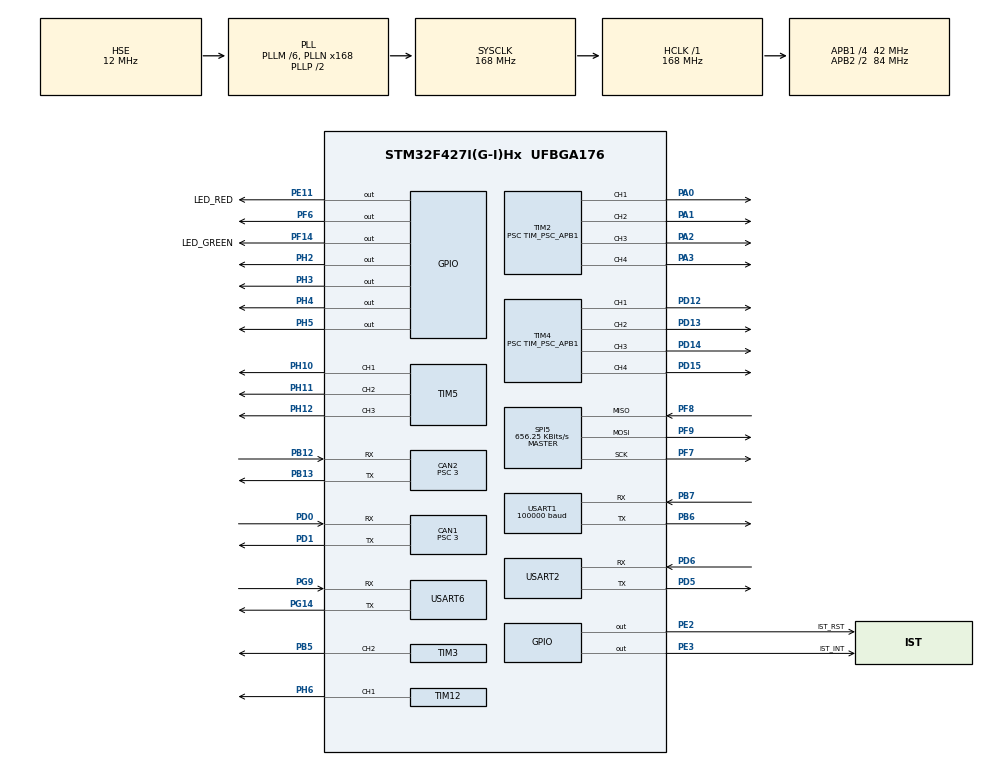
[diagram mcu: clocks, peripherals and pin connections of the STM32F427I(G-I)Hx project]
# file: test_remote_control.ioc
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Mcu.Family=STM32F4
RCC.CortexFreq_Value=168000000
PH12.Signal=S_TIM5_CH3
NVIC.CAN2_RX0_IRQn=true\:0\:0\:false\:false\:true\:true\:true
PH10.Signal=S_TIM5_CH1
PE11.GPIO_Label=LED_RED
USART1.BaudRate=100000
PE2.GPIO_Speed=GPIO_SPEED_FREQ_VERY_HIGH
SH.S_TIM5_CH2.0=TIM5_CH2,PWM Generation2 CH2
PA0/WKUP.Signal=S_TIM2_CH1_ETR
TIM2.Channel-PWM\ Generation2\ CH2=TIM_CHANNEL_2
PB13.Signal=CAN2_TX
Dma.USART2_RX.1.MemDataAlignment=DMA_MDATAALIGN_BYTE
RCC.SYSCLKSource=RCC_SYSCLKSOURCE_PLLCLK
ProjectManager.StackSize=0x400
Dma.USART2_TX.2.PeriphDataAlignment=DMA_PDATAALIGN_BYTE
PD13.Signal=S_TIM4_CH2
PH5.Signal=GPIO_Output
Mcu.UserConstants=APB1_TIMER_CLOCKS,84000000;APB2_TIMER_CLOCKS,168000000;PWM_FREQUENCE,50;PWM_RESOLUTION,10000;PWM_DEFAULT_DUTY,1000;TIM_PSC_APB1,((APB1_TIMER_CLOCKS/PWM_FREQUENCE)/PWM_RESOLUTION -1);TIM_PSC_APB2,((APB2_TIMER_CLOCKS/PWM_FREQUENCE)/PWM_RESOLUTION -1)
PF7.Signal=SPI5_SCK
TIM2.Pulse-PWM\ Generation3\ CH3=PWM_DEFAULT_DUTY
NVIC.CAN1_TX_IRQn=true\:0\:0\:false\:false\:true\:true\:true
PH0/OSC_IN.Mode=HSE-External-Oscillator
RCC.HCLKFreq_Value=168000000
RCC.APB2TimFreq_Value=168000000
TIM3.Period=4999
TIM4.Pulse-PWM\ Generation1\ CH1=PWM_DEFAULT_DUTY
PB6.Signal=USART1_TX
PB6.Mode=Asynchronous
PH1/OSC_OUT.Signal=RCC_OSC_OUT
SH.S_TIM5_CH3.0=TIM5_CH3,PWM Generation3 CH3
Dma.USART2_RX.1.PeriphInc=DMA_PINC_DISABLE
PD0.Signal=CAN1_RX
Dma.USART2_RX.1.MemInc=DMA_MINC_ENABLE
RCC.AHBFreq_Value=168000000
Dma.USART1_RX.0.Priority=DMA_PRIORITY_VERY_HIGH
PD5.Mode=Asynchronous
RCC.HSE_VALUE=12000000
TIM4.Channel-PWM\ Generation3\ CH3=TIM_CHANNEL_3
Dma.USART2_TX.2.Priority=DMA_PRIORITY_LOW
TIM12.Period=7777
PG14.Mode=Asynchronous
PF9.Mode=Full_Duplex_Master
SH.S_TIM12_CH1.0=TIM12_CH1,PWM Generation1 CH1
PA14.Mode=Serial_Wire
CAN2.Prescaler=3
TIM3.Prescaler=0
Dma.USART2_TX.2.MemDataAlignment=DMA_MDATAALIGN_BYTE
SH.S_TIM4_CH2.0=TIM4_CH2,PWM Generation2 CH2
PE2.Signal=GPIO_Output
PB7.Signal=USART1_RX
PF8.Mode=Full_Duplex_Master
TIM2.Channel-PWM\ Generation1\ CH1=TIM_CHANNEL_1
TIM4.Period=PWM_RESOLUTION-1
Dma.USART1_RX.0.MemInc=DMA_MINC_ENABLE
PH1/OSC_OUT.Mode=HSE-External-Oscillator
CAN1.Prescaler=3
Mcu.Package=UFBGA176
SPI5.BaudRatePrescaler=SPI_BAUDRATEPRESCALER_128
TIM2.Prescaler=TIM_PSC_APB1
PB12.Mode=Slave
CAN2.BS1=CAN_BS1_9TQ
CAN2.BS2=CAN_BS2_4TQ
USART2.VirtualMode=VM_ASYNC
USART6.VirtualMode=VM_ASYNC
PD12.Signal=S_TIM4_CH1
TIM4.OCMode_PWM-PWM\ Generation4\ CH4=TIM_OCMODE_PWM1
PF8.Signal=SPI5_MISO
TIM2.Pulse-PWM\ Generation2\ CH2=PWM_DEFAULT_DUTY
SPI5.CalculateBaudRate=656.25 KBits/s
PH2.Signal=GPIO_Output
Dma.USART1_RX.0.FIFOMode=DMA_FIFOMODE_DISABLE
RCC.APB2CLKDivider=RCC_HCLK_DIV2
NVIC.DMA2_Stream2_IRQn=true\:0\:0\:false\:false\:true\:false\:true
SH.S_TIM4_CH1.0=TIM4_CH1,PWM Generation1 CH1
Dma.Request2=USART2_TX
PF14.Signal=GPIO_Output
Dma.Request1=USART2_RX
RCC.APB1TimFreq_Value=84000000
SH.S_TIM5_CH1.0=TIM5_CH1,PWM Generation1 CH1
Dma.USART1_RX.0.Mode=DMA_CIRCULAR
PB13.Mode=Slave
NVIC.USART1_IRQn=true\:0\:0\:false\:false\:true\:true\:true
PD6.Signal=USART2_RX
Dma.USART2_RX.1.Mode=DMA_NORMAL
TIM4.Channel-PWM\ Generation4\ CH4=TIM_CHANNEL_4
Dma.Request0=USART1_RX
NVIC.DMA1_Stream6_IRQn=true\:0\:0\:false\:false\:true\:false\:true
PE2.GPIO_Label=IST_RST
PD15.Signal=S_TIM4_CH4
Dma.USART1_RX.0.Instance=DMA2_Stream2
SPI5.VirtualType=VM_MASTER
TIM4.Pulse-PWM\ Generation2\ CH2=PWM_DEFAULT_DUTY
PA3.Signal=S_TIM2_CH4
CAN1.CalculateTimeQuantum=71.42857142857143
RCC.PLLSourceVirtual=RCC_PLLSOURCE_HSE
TIM4.Channel-PWM\ Generation1\ CH1=TIM_CHANNEL_1
Dma.USART2_TX.2.PeriphInc=DMA_PINC_DISABLE
TIM4.Pulse-PWM\ Generation3\ CH3=PWM_DEFAULT_DUTY
NVIC.CAN2_TX_IRQn=true\:0\:0\:false\:false\:true\:true\:true
TIM2.Channel-PWM\ Generation4\ CH4=TIM_CHANNEL_4
Dma.USART2_RX.1.Priority=DMA_PRIORITY_LOW
Dma.USART2_RX.1.FIFOMode=DMA_FIFOMODE_DISABLE
Dma.USART1_RX.0.PeriphDataAlignment=DMA_PDATAALIGN_BYTE
PH11.Signal=S_TIM5_CH2
Dma.USART2_TX.2.MemInc=DMA_MINC_ENABLE
SH.S_TIM4_CH4.0=TIM4_CH4,PWM Generation4 CH4
PG9.Signal=USART6_RX
PG9.Mode=Asynchronous
PD1.Signal=CAN1_TX
PD5.Signal=USART2_TX
PF14.GPIO_Label=LED_GREEN
TIM5.Channel-PWM\ Generation3\ CH3=TIM_CHANNEL_3
RCC.APB1CLKDivider=RCC_HCLK_DIV4
PD6.Mode=Asynchronous
NVIC.USART2_IRQn=true\:0\:0\:false\:false\:true\:true\:true
SPI5.Mode=SPI_MODE_MASTER
TIM2.Pulse-PWM\ Generation1\ CH1=PWM_DEFAULT_DUTY
NVIC.USART6_IRQn=true\:0\:0\:false\:false\:true\:true\:true
PA13.Signal=SYS_JTMS-SWDIO
PF7.Mode=Full_Duplex_Master
SH.S_TIM2_CH2.0=TIM2_CH2,PWM Generation2 CH2
PH4.Signal=GPIO_Output
CAN1.BS2=CAN_BS2_4TQ
PF6.Signal=GPIO_Output
CAN1.BS1=CAN_BS1_9TQ
ProjectManager.TargetToolchain=STM32CubeIDE
NVIC.DMA1_Stream5_IRQn=true\:0\:0\:false\:false\:true\:false\:true
SH.S_TIM4_CH3.0=TIM4_CH3,PWM Generation3 CH3
Dma.USART1_RX.0.Direction=DMA_PERIPH_TO_MEMORY
USART1.Parity=PARITY_EVEN
TIM4.Prescaler=TIM_PSC_APB1
PE11.Signal=GPIO_Output
RCC.LSE_VALUE=32768
PA1.Signal=S_TIM2_CH2
Dma.USART1_RX.0.PeriphInc=DMA_PINC_DISABLE
Dma.USART2_RX.1.Instance=DMA1_Stream5
TIM12.Prescaler=3
Dma.USART2_RX.1.Direction=DMA_PERIPH_TO_MEMORY
SH.S_TIM3_CH2.0=TIM3_CH2,PWM Generation2 CH2
PG14.Signal=USART6_TX
Dma.USART2_RX.1.PeriphDataAlignment=DMA_PDATAALIGN_BYTE
board=custom
RCC.VCOOutputFreq_Value=336000000
PD1.Mode=Master
TIM4.Pulse-PWM\ Generation4\ CH4=PWM_DEFAULT_DUTY
PH0/OSC_IN.Signal=RCC_OSC_IN
TIM12.Channel-PWM\ Generation1\ CH1=TIM_CHANNEL_1
TIM4.Channel-PWM\ Generation2\ CH2=TIM_CHANNEL_2
RCC.APB2Freq_Value=84000000
SH.S_TIM2_CH3.0=TIM2_CH3,PWM Generation3 CH3
CAN2.CalculateTimeQuantum=71.42857142857143
TIM2.Channel-PWM\ Generation3\ CH3=TIM_CHANNEL_3
Dma.USART1_RX.0.MemDataAlignment=DMA_MDATAALIGN_BYTE
TIM2.Period=PWM_RESOLUTION-1
PA13.Mode=Serial_Wire
Mcu.Name=STM32F427I(G-I)Hx
PD0.Mode=Master
PA2.Signal=S_TIM2_CH3
Dma.USART2_TX.2.Mode=DMA_NORMAL
PD14.Signal=S_TIM4_CH3
RCC.48MHZClocksFreq_Value=84000000
TIM5.Channel-PWM\ Generation2\ CH2=TIM_CHANNEL_2
RCC.SYSCLKFreq_VALUE=168000000
PB5.Signal=S_TIM3_CH2
Dma.USART2_TX.2.Instance=DMA1_Stream6
PE3.GPIO_Speed=GPIO_SPEED_FREQ_VERY_HIGH
USART1.VirtualMode=VM_ASYNC
PB7.Mode=Asynchronous
SH.S_TIM2_CH1_ETR.0=TIM2_CH1,PWM Generation1 CH1
TIM5.Channel-PWM\ Generation1\ CH1=TIM_CHANNEL_1
PA14.Signal=SYS_JTCK-SWCLK
ProjectManager.HeapSize=0x200
SH.S_TIM2_CH4.0=TIM2_CH4,PWM Generation4 CH4
PH6.Signal=S_TIM12_CH1
PF9.Signal=SPI5_MOSI
RCC.HSI_VALUE=16000000
Dma.USART2_TX.2.Direction=DMA_MEMORY_TO_PERIPH
NVIC.PriorityGroup=NVIC_PRIORITYGROUP_4
PH3.Signal=GPIO_Output
TIM3.Channel-PWM\ Generation2\ CH2=TIM_CHANNEL_2
RCC.PLLM=6
RCC.PLLN=168
Dma.USART2_TX.2.FIFOMode=DMA_FIFOMODE_DISABLE
PE3.Signal=GPIO_Output
PE3.GPIO_Label=IST_INT
TIM2.Pulse-PWM\ Generation4\ CH4=PWM_DEFAULT_DUTY
RCC.APB1Freq_Value=42000000
PB12.Signal=CAN2_RX
NVIC.CAN1_RX0_IRQn=true\:0\:0\:false\:false\:true\:true\:true
SPI5.Direction=SPI_DIRECTION_2LINES

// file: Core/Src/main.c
/* USER CODE BEGIN Header */
/**
  ******************************************************************************
  * @file           : main.c
  * @brief          : Main program body
  ******************************************************************************
  * @attention
  *
  * <h2><center>&copy; Copyright (c) 2020 STMicroelectronics.
  * All rights reserved.</center></h2>
  *
  * This software component is licensed by ST under BSD 3-Clause license,
  * the "License"; You may not use this file except in compliance with the
  * License. You may obtain a copy of the License at:
  *                        opensource.org/licenses/BSD-3-Clause
  *
  ******************************************************************************
  */
/* USER CODE END Header */
#include "main.h"

/* USER CODE BEGIN Includes */
#include <stdlib.h>
#include <stdio.h>
#include <math.h>
#include "rm_uart.h"
#include "rm_gpio.h"
#include "rm_can.h"
#include "rm_imu.h"
#include "rm_pwm.h"
#include "rm_ctrl.h"

/* USER CODE END Includes */

/* USER CODE BEGIN PD */
//#define INF_2
//#define SENTRY
#define HERO

// default positions
#ifdef INF_2
#define YAW_POS_DEFAULT (750)
#define PIT_POS_DEFAULT (6730)
#endif

#ifdef HERO
#define YAW_POS_DEFAULT (2800)
#define PIT_POS_DEFAULT (6730)
#endif

#ifdef SENTRY
#define YAW_POS_DEFAULT (4350)
#define PIT_POS_DEFAULT (1500)
#endif

#define DRIVE_LF_ID 0
#define DRIVE_LB_ID 1
#define DRIVE_RF_ID 2
#define DRIVE_RB_ID 3
#define RPM_SCALE 10
#define JOY_TO_RPM (1 / 660.0f) // max 660, 660 / 660.0f = 1 rpm
#define JOY_TO_ECD (4096 / 660.0f) // max 660, 660 * (4096 / 660.0f = 4096
#define DRIVE_SPEED_DEFAULT 450 // 450 rpm
#define MOTOR_BOUNDS 4500
#define GIMBAL_RPM_LIMIT 3200

/* USER CODE END PD */

CAN_HandleTypeDef hcan1;
CAN_HandleTypeDef hcan2;

SPI_HandleTypeDef hspi5;

TIM_HandleTypeDef htim2;
TIM_HandleTypeDef htim3;
TIM_HandleTypeDef htim4;
TIM_HandleTypeDef htim5;
TIM_HandleTypeDef htim12;

UART_HandleTypeDef huart1;
UART_HandleTypeDef huart2;
UART_HandleTypeDef huart6;
DMA_HandleTypeDef hdma_usart1_rx;
DMA_HandleTypeDef hdma_usart2_rx;
DMA_HandleTypeDef hdma_usart2_tx;

/* USER CODE BEGIN PV */
char buf[200];
int count;

short isKB = 0;
short LF_rpm,LB_rpm,RF_rpm,RB_rpm;
short gimbal_yaw,gimbal_pitch;
short yaw_rpm, pit_rpm;
short flywheel_speed;

short yaw_ecd_target;
short pit_ecd_target;

float indexer_speed = 0;

/* USER CODE END PV */

void SystemClock_Config(void);
static void MX_GPIO_Init(void);
static void MX_DMA_Init(void);
static void MX_CAN1_Init(void);
static void MX_CAN2_Init(void);
static void MX_SPI5_Init(void);
static void MX_TIM2_Init(void);
static void MX_TIM4_Init(void);
static void MX_USART1_UART_Init(void);
static void MX_USART2_UART_Init(void);
static void MX_USART6_UART_Init(void);
static void MX_TIM3_Init(void);
static void MX_TIM12_Init(void);
static void MX_TIM5_Init(void);
/* USER CODE BEGIN PFP */
void processMKB();
void processController();
void processSentry();
/* USER CODE END PFP */

/* USER CODE BEGIN 0 */
void processSentry(){

}

void processMKB(){
	// axies y-> up, x -> right, motors going forward when pos (left CCW, right CW)
	short kbX = rc.kb.bit.D - rc.kb.bit.A;
	short kbY = rc.kb.bit.W - rc.kb.bit.S;
	short kbRotation = rc.kb.bit.Q - rc.kb.bit.E;
	short mouseLC = rc.mouse.l;
	short mouseRC = rc.mouse.r;
	short mouseSpeedX = rc.mouse.x;
	short mouseSpeedY = rc.mouse.y;

	yaw_rpm = fmax(fmin(mouseSpeedX * 10, GIMBAL_RPM_LIMIT), -GIMBAL_RPM_LIMIT);
	pit_rpm = fmax(fmin(mouseSpeedY * 10, GIMBAL_RPM_LIMIT), -GIMBAL_RPM_LIMIT);

	gimbal_yaw += mouseSpeedX * 10;
	gimbal_pitch += mouseSpeedY * 10;

	if (mouseRC) {
		flywheel_speed = (short) (PWM_RESOLUTION * 0.5f);
	} else {
		flywheel_speed = (short) (PWM_RESOLUTION * 0.4f);
	}

	if (mouseLC) {
		indexer_speed = 250 * RPM_SCALE;
	} else {
		indexer_speed = 0 * RPM_SCALE;
	}

	LF_rpm = (short) ((kbY - kbX + kbRotation) * RPM_SCALE * DRIVE_SPEED_DEFAULT);
	RF_rpm = (short) ((kbY + kbX - kbRotation) * RPM_SCALE * DRIVE_SPEED_DEFAULT);
	LB_rpm = (short) ((kbY + kbX + kbRotation) * RPM_SCALE * DRIVE_SPEED_DEFAULT);
	RB_rpm = (short) ((kbY - kbX - kbRotation) * RPM_SCALE * DRIVE_SPEED_DEFAULT);

	LF_rpm = fmax(fmin(LF_rpm,MOTOR_BOUNDS),-MOTOR_BOUNDS);
	LB_rpm = fmax(fmin(LB_rpm,MOTOR_BOUNDS),-MOTOR_BOUNDS);
	RF_rpm = fmax(fmin(RF_rpm,MOTOR_BOUNDS),-MOTOR_BOUNDS);
	RB_rpm = fmax(fmin(RB_rpm,MOTOR_BOUNDS),-MOTOR_BOUNDS);
}

void processController(){
	// axies y-> up, x -> right, motors going forward when pos (left CCW, right CW)
	if (rc.sw1 == 2 && rc.sw2 == 2){
		if (!isKB){ // last time not kb
			// transition from controller to KB
			gimbal_pid_clear();
		}
		isKB = 1;
		processMKB();
		return;
	}
	if (isKB) { // last time kb
		// transition from KB to controller
		gimbal_pid_clear();
	}
	isKB = 0;
	//gimbal_yaw = 0;
	//gimbal_pitch = 0;
	short joyLeftX = (short)(rc.ch4); // positive direction stay at right
	short joyLeftY = (short)(-rc.ch3); // change positive direction to up
	short joyRightX = (short)(rc.ch2); // positive direction stay at right
	short joyRightY = (short)(rc.ch1); // change positive direction to up
	short joyRotation = 0;
	switch(rc.sw1){
		case 1: //left up (left stick strafe, right stick bot rotation)
			joyRotation = -joyRightX;
			indexer_speed = 0 * RPM_SCALE;
			break;
		case 3: //left middle (left stick strafe, right stick aim)
			gimbal_yaw = (short)(joyRightX * JOY_TO_ECD);
			indexer_speed = 0 * RPM_SCALE;
			break;
		default: // reserve for keyboard
			if (rc.sw2 == 1){ // flywheel on
				gimbal_yaw += (short)(joyRightX * JOY_TO_ECD * 0.1f);
				indexer_speed = 250 * RPM_SCALE;
			}
			break;
	}
	switch(rc.sw2){
		case 1:
			flywheel_speed = (short) (PWM_RESOLUTION * 0.5f); //0.5 for infantry
			break;
		case 3:
			flywheel_speed = (short) (PWM_RESOLUTION * 0.4f);
			break;
		default: // reserve for keyboard
			break;
	}

	gimbal_pitch += (short)((joyRightY * JOY_TO_ECD) * 0.05f); // pitch don't have the same range as yaw, now limit to 20 degrees
	LF_rpm = (short) ((joyLeftY - joyLeftX + joyRotation) * JOY_TO_RPM * RPM_SCALE * DRIVE_SPEED_DEFAULT);
	RF_rpm = (short) ((joyLeftY + joyLeftX - joyRotation) * JOY_TO_RPM * RPM_SCALE * DRIVE_SPEED_DEFAULT);
	LB_rpm = (short) ((joyLeftY + joyLeftX + joyRotation) * JOY_TO_RPM * RPM_SCALE * DRIVE_SPEED_DEFAULT);
	RB_rpm = (short) ((joyLeftY - joyLeftX - joyRotation) * JOY_TO_RPM * RPM_SCALE * DRIVE_SPEED_DEFAULT);

	LF_rpm = fmax(fmin(LF_rpm,MOTOR_BOUNDS),-MOTOR_BOUNDS);
	LB_rpm = fmax(fmin(LB_rpm,MOTOR_BOUNDS),-MOTOR_BOUNDS);
	RF_rpm = fmax(fmin(RF_rpm,MOTOR_BOUNDS),-MOTOR_BOUNDS);
	RB_rpm = fmax(fmin(RB_rpm,MOTOR_BOUNDS),-MOTOR_BOUNDS);
}

/* USER CODE END 0 */

int main(void)
{
  /* USER CODE BEGIN 1 */
  count = 0; // keep count in while loop and reset every 10s
  /* USER CODE END 1 */

  /* MCU Configuration--------------------------------------------------------*/

  /* Reset of all peripherals, Initializes the Flash interface and the Systick. */
  HAL_Init();

  /* Configure the system clock */
  SystemClock_Config();

  /* Initialize all configured peripherals */
  MX_GPIO_Init();
  MX_DMA_Init();
  MX_CAN1_Init();
  MX_CAN2_Init();
  MX_SPI5_Init();
  MX_TIM2_Init();
  MX_TIM4_Init();
  MX_USART1_UART_Init();
  MX_USART2_UART_Init();
  MX_USART6_UART_Init();
  MX_TIM3_Init();
  MX_TIM12_Init();
  MX_TIM5_Init();
  /* USER CODE BEGIN 2 */

  led_off();
  power_on();
  dbus_uart_init();
  can_filter_init();

  mpu_device_init();
  init_quaternion();
  //pwm_imu_start();

  pwm_flywheel_start();
  pwm_buzzer_start();
  grand_pid_init();
  //imu_calibration();

  /* USER CODE END 2 */

  /* Infinite loop */
  /* USER CODE BEGIN WHILE */
  while (1)
  {

	float yaw_output;
	float pit_output;
	float wheels_output[4];
	float indexer_output;
	mpu_get_data();
	imu_ahrs_update();
	imu_attitude_update();

	imu_temp_pid_ctrl(imu.temp, 50.0f);

	// process the inputs from the rc into targets for each pid module
	processController();

	yaw_ecd_target = YAW_POS_DEFAULT + gimbal_yaw;
	pit_ecd_target = PIT_POS_DEFAULT + gimbal_pitch;

	yaw_ecd_target = set_rotation_target(yaw_ecd_target, ECD_PERIOD);
	pit_ecd_target = set_rotation_target(pit_ecd_target, ECD_PERIOD);

	if (isKB){
		//yaw_output = yaw_rpm_pid_ctrl(yaw_rpm);
		//pit_output = pit_rpm_pid_ctrl(pit_rpm);
		yaw_output = yaw_ecd_pid_ctrl(motors[4].ecd, yaw_ecd_target);
		pit_output = pit_ecd_pid_ctrl(motors[5].ecd, pit_ecd_target);
	} else {
		yaw_output = yaw_ecd_pid_ctrl(motors[4].ecd, yaw_ecd_target);
		pit_output = pit_ecd_pid_ctrl(motors[5].ecd, pit_ecd_target);
	}

	wheels_rpm_ctrl_calc(-LF_rpm,RF_rpm,-LB_rpm,RB_rpm, wheels_output);

	indexer_output = indexer_rpm_ctrl_calc(indexer_speed);

	can_transmit(&hcan1, CAN_CHASSIS_ALL_ID,
			wheels_output[0],
			wheels_output[1],
			wheels_output[2],
			wheels_output[3]);

	can_transmit(&hcan1, CAN_GIMBAL_ALL_ID,
			yaw_output,
			pit_output,
			indexer_output, 0);
	//flywheel_speed = (rc.ch4 / 660.0f + 1) * 1000;
	set_pwm_flywheel(flywheel_speed);

	if (count%100 == 0)
	{
		HAL_GPIO_TogglePin(LED_GREEN_GPIO_Port, LED_GREEN_Pin);
	}

	/* reset count every 10s */
	if (count == 2000)
	{
		count = 0;
	}
	count++;

	HAL_Delay(5);
    /* USER CODE END WHILE */

  }
}

void SystemClock_Config(void)
{
  RCC_OscInitTypeDef RCC_OscInitStruct = {0};
  RCC_ClkInitTypeDef RCC_ClkInitStruct = {0};

  /** Configure the main internal regulator output voltage
  */
  __HAL_RCC_PWR_CLK_ENABLE();
  __HAL_PWR_VOLTAGESCALING_CONFIG(PWR_REGULATOR_VOLTAGE_SCALE1);
  /** Initializes the RCC Oscillators according to the specified parameters
  * in the RCC_OscInitTypeDef structure.
  */
  RCC_OscInitStruct.OscillatorType = RCC_OSCILLATORTYPE_HSE;
  RCC_OscInitStruct.HSEState = RCC_HSE_ON;
  RCC_OscInitStruct.PLL.PLLState = RCC_PLL_ON;
  RCC_OscInitStruct.PLL.PLLSource = RCC_PLLSOURCE_HSE;
  RCC_OscInitStruct.PLL.PLLM = 6;
  RCC_OscInitStruct.PLL.PLLN = 168;
  RCC_OscInitStruct.PLL.PLLP = RCC_PLLP_DIV2;
  RCC_OscInitStruct.PLL.PLLQ = 4;
  if (HAL_RCC_OscConfig(&RCC_OscInitStruct) != HAL_OK)
  {
    Error_Handler();
  }
  /** Initializes the CPU, AHB and APB buses clocks
  */
  RCC_ClkInitStruct.ClockType = RCC_CLOCKTYPE_HCLK|RCC_CLOCKTYPE_SYSCLK
                              |RCC_CLOCKTYPE_PCLK1|RCC_CLOCKTYPE_PCLK2;
  RCC_ClkInitStruct.SYSCLKSource = RCC_SYSCLKSOURCE_PLLCLK;
  RCC_ClkInitStruct.AHBCLKDivider = RCC_SYSCLK_DIV1;
  RCC_ClkInitStruct.APB1CLKDivider = RCC_HCLK_DIV4;
  RCC_ClkInitStruct.APB2CLKDivider = RCC_HCLK_DIV2;

  if (HAL_RCC_ClockConfig(&RCC_ClkInitStruct, FLASH_LATENCY_5) != HAL_OK)
  {
    Error_Handler();
  }
}

static void MX_CAN1_Init(void)
{

  hcan1.Instance = CAN1;
  hcan1.Init.Prescaler = 3;
  hcan1.Init.Mode = CAN_MODE_NORMAL;
  hcan1.Init.SyncJumpWidth = CAN_SJW_1TQ;
  hcan1.Init.TimeSeg1 = CAN_BS1_9TQ;
  hcan1.Init.TimeSeg2 = CAN_BS2_4TQ;
  hcan1.Init.TimeTriggeredMode = DISABLE;
  hcan1.Init.AutoBusOff = DISABLE;
  hcan1.Init.AutoWakeUp = DISABLE;
  hcan1.Init.AutoRetransmission = DISABLE;
  hcan1.Init.ReceiveFifoLocked = DISABLE;
  hcan1.Init.TransmitFifoPriority = DISABLE;
  if (HAL_CAN_Init(&hcan1) != HAL_OK)
  {
    Error_Handler();
  }

}

static void MX_CAN2_Init(void)
{

  hcan2.Instance = CAN2;
  hcan2.Init.Prescaler = 3;
  hcan2.Init.Mode = CAN_MODE_NORMAL;
  hcan2.Init.SyncJumpWidth = CAN_SJW_1TQ;
  hcan2.Init.TimeSeg1 = CAN_BS1_9TQ;
  hcan2.Init.TimeSeg2 = CAN_BS2_4TQ;
  hcan2.Init.TimeTriggeredMode = DISABLE;
  hcan2.Init.AutoBusOff = DISABLE;
  hcan2.Init.AutoWakeUp = DISABLE;
  hcan2.Init.AutoRetransmission = DISABLE;
  hcan2.Init.ReceiveFifoLocked = DISABLE;
  hcan2.Init.TransmitFifoPriority = DISABLE;
  if (HAL_CAN_Init(&hcan2) != HAL_OK)
  {
    Error_Handler();
  }

}

static void MX_SPI5_Init(void)
{

  /* SPI5 parameter configuration*/
  hspi5.Instance = SPI5;
  hspi5.Init.Mode = SPI_MODE_MASTER;
  hspi5.Init.Direction = SPI_DIRECTION_2LINES;
  hspi5.Init.DataSize = SPI_DATASIZE_8BIT;
  hspi5.Init.CLKPolarity = SPI_POLARITY_LOW;
  hspi5.Init.CLKPhase = SPI_PHASE_1EDGE;
  hspi5.Init.NSS = SPI_NSS_SOFT;
  hspi5.Init.BaudRatePrescaler = SPI_BAUDRATEPRESCALER_128;
  hspi5.Init.FirstBit = SPI_FIRSTBIT_MSB;
  hspi5.Init.TIMode = SPI_TIMODE_DISABLE;
  hspi5.Init.CRCCalculation = SPI_CRCCALCULATION_DISABLE;
  hspi5.Init.CRCPolynomial = 10;
  if (HAL_SPI_Init(&hspi5) != HAL_OK)
  {
    Error_Handler();
  }

}

static void MX_TIM2_Init(void)
{

  TIM_MasterConfigTypeDef sMasterConfig = {0};
  TIM_OC_InitTypeDef sConfigOC = {0};

  htim2.Instance = TIM2;
  htim2.Init.Prescaler = TIM_PSC_APB1;
  htim2.Init.CounterMode = TIM_COUNTERMODE_UP;
  htim2.Init.Period = PWM_RESOLUTION-1;
  htim2.Init.ClockDivision = TIM_CLOCKDIVISION_DIV1;
  htim2.Init.AutoReloadPreload = TIM_AUTORELOAD_PRELOAD_DISABLE;
  if (HAL_TIM_PWM_Init(&htim2) != HAL_OK)
  {
    Error_Handler();
  }
  sMasterConfig.MasterOutputTrigger = TIM_TRGO_RESET;
  sMasterConfig.MasterSlaveMode = TIM_MASTERSLAVEMODE_DISABLE;
  if (HAL_TIMEx_MasterConfigSynchronization(&htim2, &sMasterConfig) != HAL_OK)
  {
    Error_Handler();
  }
  sConfigOC.OCMode = TIM_OCMODE_PWM1;
  sConfigOC.Pulse = PWM_DEFAULT_DUTY;
  sConfigOC.OCPolarity = TIM_OCPOLARITY_HIGH;
  sConfigOC.OCFastMode = TIM_OCFAST_DISABLE;
  if (HAL_TIM_PWM_ConfigChannel(&htim2, &sConfigOC, TIM_CHANNEL_1) != HAL_OK)
  {
    Error_Handler();
  }
  if (HAL_TIM_PWM_ConfigChannel(&htim2, &sConfigOC, TIM_CHANNEL_2) != HAL_OK)
  {
    Error_Handler();
  }
  if (HAL_TIM_PWM_ConfigChannel(&htim2, &sConfigOC, TIM_CHANNEL_3) != HAL_OK)
  {
    Error_Handler();
  }
  if (HAL_TIM_PWM_ConfigChannel(&htim2, &sConfigOC, TIM_CHANNEL_4) != HAL_OK)
  {
    Error_Handler();
  }
  HAL_TIM_MspPostInit(&htim2);

}

static void MX_TIM3_Init(void)
{

  TIM_MasterConfigTypeDef sMasterConfig = {0};
  TIM_OC_InitTypeDef sConfigOC = {0};

  htim3.Instance = TIM3;
  htim3.Init.Prescaler = 0;
  htim3.Init.CounterMode = TIM_COUNTERMODE_UP;
  htim3.Init.Period = 4999;
  htim3.Init.ClockDivision = TIM_CLOCKDIVISION_DIV1;
  htim3.Init.AutoReloadPreload = TIM_AUTORELOAD_PRELOAD_DISABLE;
  if (HAL_TIM_PWM_Init(&htim3) != HAL_OK)
  {
    Error_Handler();
  }
  sMasterConfig.MasterOutputTrigger = TIM_TRGO_RESET;
  sMasterConfig.MasterSlaveMode = TIM_MASTERSLAVEMODE_DISABLE;
  if (HAL_TIMEx_MasterConfigSynchronization(&htim3, &sMasterConfig) != HAL_OK)
  {
    Error_Handler();
  }
  sConfigOC.OCMode = TIM_OCMODE_PWM1;
  sConfigOC.Pulse = 0;
  sConfigOC.OCPolarity = TIM_OCPOLARITY_HIGH;
  sConfigOC.OCFastMode = TIM_OCFAST_DISABLE;
  if (HAL_TIM_PWM_ConfigChannel(&htim3, &sConfigOC, TIM_CHANNEL_2) != HAL_OK)
  {
    Error_Handler();
  }
  HAL_TIM_MspPostInit(&htim3);

}

static void MX_TIM4_Init(void)
{

  TIM_MasterConfigTypeDef sMasterConfig = {0};
  TIM_OC_InitTypeDef sConfigOC = {0};

  htim4.Instance = TIM4;
  htim4.Init.Prescaler = TIM_PSC_APB1;
  htim4.Init.CounterMode = TIM_COUNTERMODE_UP;
  htim4.Init.Period = PWM_RESOLUTION-1;
  htim4.Init.ClockDivision = TIM_CLOCKDIVISION_DIV1;
  htim4.Init.AutoReloadPreload = TIM_AUTORELOAD_PRELOAD_DISABLE;
  if (HAL_TIM_PWM_Init(&htim4) != HAL_OK)
  {
    Error_Handler();
  }
  sMasterConfig.MasterOutputTrigger = TIM_TRGO_RESET;
  sMasterConfig.MasterSlaveMode = TIM_MASTERSLAVEMODE_DISABLE;
  if (HAL_TIMEx_MasterConfigSynchronization(&htim4, &sMasterConfig) != HAL_OK)
  {
    Error_Handler();
  }
  sConfigOC.OCMode = TIM_OCMODE_PWM1;
  sConfigOC.Pulse = PWM_DEFAULT_DUTY;
  sConfigOC.OCPolarity = TIM_OCPOLARITY_HIGH;
  sConfigOC.OCFastMode = TIM_OCFAST_DISABLE;
  if (HAL_TIM_PWM_ConfigChannel(&htim4, &sConfigOC, TIM_CHANNEL_1) != HAL_OK)
  {
    Error_Handler();
  }
  if (HAL_TIM_PWM_ConfigChannel(&htim4, &sConfigOC, TIM_CHANNEL_2) != HAL_OK)
  {
    Error_Handler();
  }
  if (HAL_TIM_PWM_ConfigChannel(&htim4, &sConfigOC, TIM_CHANNEL_3) != HAL_OK)
  {
    Error_Handler();
  }
  if (HAL_TIM_PWM_ConfigChannel(&htim4, &sConfigOC, TIM_CHANNEL_4) != HAL_OK)
  {
    Error_Handler();
  }
  HAL_TIM_MspPostInit(&htim4);

}

static void MX_TIM5_Init(void)
{

  TIM_MasterConfigTypeDef sMasterConfig = {0};
  TIM_OC_InitTypeDef sConfigOC = {0};

  htim5.Instance = TIM5;
  htim5.Init.Prescaler = 0;
  htim5.Init.CounterMode = TIM_COUNTERMODE_UP;
  htim5.Init.Period = 4294967295;
  htim5.Init.ClockDivision = TIM_CLOCKDIVISION_DIV1;
  htim5.Init.AutoReloadPreload = TIM_AUTORELOAD_PRELOAD_DISABLE;
  if (HAL_TIM_PWM_Init(&htim5) != HAL_OK)
  {
    Error_Handler();
  }
  sMasterConfig.MasterOutputTrigger = TIM_TRGO_RESET;
  sMasterConfig.MasterSlaveMode = TIM_MASTERSLAVEMODE_DISABLE;
  if (HAL_TIMEx_MasterConfigSynchronization(&htim5, &sMasterConfig) != HAL_OK)
  {
    Error_Handler();
  }
  sConfigOC.OCMode = TIM_OCMODE_PWM1;
  sConfigOC.Pulse = 0;
  sConfigOC.OCPolarity = TIM_OCPOLARITY_HIGH;
  sConfigOC.OCFastMode = TIM_OCFAST_DISABLE;
  if (HAL_TIM_PWM_ConfigChannel(&htim5, &sConfigOC, TIM_CHANNEL_1) != HAL_OK)
  {
    Error_Handler();
  }
  if (HAL_TIM_PWM_ConfigChannel(&htim5, &sConfigOC, TIM_CHANNEL_2) != HAL_OK)
  {
    Error_Handler();
  }
  if (HAL_TIM_PWM_ConfigChannel(&htim5, &sConfigOC, TIM_CHANNEL_3) != HAL_OK)
  {
    Error_Handler();
  }
  HAL_TIM_MspPostInit(&htim5);

}

static void MX_TIM12_Init(void)
{

  TIM_OC_InitTypeDef sConfigOC = {0};

  htim12.Instance = TIM12;
  htim12.Init.Prescaler = 3;
  htim12.Init.CounterMode = TIM_COUNTERMODE_UP;
  htim12.Init.Period = 7777;
  htim12.Init.ClockDivision = TIM_CLOCKDIVISION_DIV1;
  htim12.Init.AutoReloadPreload = TIM_AUTORELOAD_PRELOAD_DISABLE;
  if (HAL_TIM_PWM_Init(&htim12) != HAL_OK)
  {
    Error_Handler();
  }
  sConfigOC.OCMode = TIM_OCMODE_PWM1;
  sConfigOC.Pulse = 0;
  sConfigOC.OCPolarity = TIM_OCPOLARITY_HIGH;
  sConfigOC.OCFastMode = TIM_OCFAST_DISABLE;
  if (HAL_TIM_PWM_ConfigChannel(&htim12, &sConfigOC, TIM_CHANNEL_1) != HAL_OK)
  {
    Error_Handler();
  }
  HAL_TIM_MspPostInit(&htim12);

}

static void MX_USART1_UART_Init(void)
{

  huart1.Instance = USART1;
  huart1.Init.BaudRate = 100000;
  huart1.Init.WordLength = UART_WORDLENGTH_8B;
  huart1.Init.StopBits = UART_STOPBITS_1;
  huart1.Init.Parity = UART_PARITY_EVEN;
  huart1.Init.Mode = UART_MODE_TX_RX;
  huart1.Init.HwFlowCtl = UART_HWCONTROL_NONE;
  huart1.Init.OverSampling = UART_OVERSAMPLING_16;
  if (HAL_UART_Init(&huart1) != HAL_OK)
  {
    Error_Handler();
  }

}

static void MX_USART2_UART_Init(void)
{

  huart2.Instance = USART2;
  huart2.Init.BaudRate = 115200;
  huart2.Init.WordLength = UART_WORDLENGTH_8B;
  huart2.Init.StopBits = UART_STOPBITS_1;
  huart2.Init.Parity = UART_PARITY_NONE;
  huart2.Init.Mode = UART_MODE_TX_RX;
  huart2.Init.HwFlowCtl = UART_HWCONTROL_NONE;
  huart2.Init.OverSampling = UART_OVERSAMPLING_16;
  if (HAL_UART_Init(&huart2) != HAL_OK)
  {
    Error_Handler();
  }

}

static void MX_USART6_UART_Init(void)
{

  huart6.Instance = USART6;
  huart6.Init.BaudRate = 115200;
  huart6.Init.WordLength = UART_WORDLENGTH_8B;
  huart6.Init.StopBits = UART_STOPBITS_1;
  huart6.Init.Parity = UART_PARITY_NONE;
  huart6.Init.Mode = UART_MODE_TX_RX;
  huart6.Init.HwFlowCtl = UART_HWCONTROL_NONE;
  huart6.Init.OverSampling = UART_OVERSAMPLING_16;
  if (HAL_UART_Init(&huart6) != HAL_OK)
  {
    Error_Handler();
  }

}

static void MX_DMA_Init(void)
{

  /* DMA controller clock enable */
  __HAL_RCC_DMA2_CLK_ENABLE();
  __HAL_RCC_DMA1_CLK_ENABLE();

  /* DMA interrupt init */
  /* DMA1_Stream5_IRQn interrupt configuration */
  HAL_NVIC_SetPriority(DMA1_Stream5_IRQn, 0, 0);
  HAL_NVIC_EnableIRQ(DMA1_Stream5_IRQn);
  /* DMA1_Stream6_IRQn interrupt configuration */
  HAL_NVIC_SetPriority(DMA1_Stream6_IRQn, 0, 0);
  HAL_NVIC_EnableIRQ(DMA1_Stream6_IRQn);
  /* DMA2_Stream2_IRQn interrupt configuration */
  HAL_NVIC_SetPriority(DMA2_Stream2_IRQn, 0, 0);
  HAL_NVIC_EnableIRQ(DMA2_Stream2_IRQn);

}

static void MX_GPIO_Init(void)
{
  GPIO_InitTypeDef GPIO_InitStruct = {0};

  /* GPIO Ports Clock Enable */
  __HAL_RCC_GPIOE_CLK_ENABLE();
  __HAL_RCC_GPIOB_CLK_ENABLE();
  __HAL_RCC_GPIOG_CLK_ENABLE();
  __HAL_RCC_GPIOA_CLK_ENABLE();
  __HAL_RCC_GPIOD_CLK_ENABLE();
  __HAL_RCC_GPIOH_CLK_ENABLE();
  __HAL_RCC_GPIOF_CLK_ENABLE();

  /*Configure GPIO pin Output Level */
  HAL_GPIO_WritePin(GPIOE, IST_INT_Pin|IST_RST_Pin|LED_RED_Pin, GPIO_PIN_RESET);

  /*Configure GPIO pin Output Level */
  HAL_GPIO_WritePin(GPIOH, GPIO_PIN_2|GPIO_PIN_3|GPIO_PIN_4|GPIO_PIN_5, GPIO_PIN_RESET);

  /*Configure GPIO pin Output Level */
  HAL_GPIO_WritePin(GPIOF, GPIO_PIN_6|LED_GREEN_Pin, GPIO_PIN_RESET);

  /*Configure GPIO pins : IST_INT_Pin IST_RST_Pin */
  GPIO_InitStruct.Pin = IST_INT_Pin|IST_RST_Pin;
  GPIO_InitStruct.Mode = GPIO_MODE_OUTPUT_PP;
  GPIO_InitStruct.Pull = GPIO_NOPULL;
  GPIO_InitStruct.Speed = GPIO_SPEED_FREQ_VERY_HIGH;
  HAL_GPIO_Init(GPIOE, &GPIO_InitStruct);

  /*Configure GPIO pins : PH2 PH3 PH4 PH5 */
  GPIO_InitStruct.Pin = GPIO_PIN_2|GPIO_PIN_3|GPIO_PIN_4|GPIO_PIN_5;
  GPIO_InitStruct.Mode = GPIO_MODE_OUTPUT_PP;
  GPIO_InitStruct.Pull = GPIO_NOPULL;
  GPIO_InitStruct.Speed = GPIO_SPEED_FREQ_LOW;
  HAL_GPIO_Init(GPIOH, &GPIO_InitStruct);

  /*Configure GPIO pins : PF6 LED_GREEN_Pin */
  GPIO_InitStruct.Pin = GPIO_PIN_6|LED_GREEN_Pin;
  GPIO_InitStruct.Mode = GPIO_MODE_OUTPUT_PP;
  GPIO_InitStruct.Pull = GPIO_NOPULL;
  GPIO_InitStruct.Speed = GPIO_SPEED_FREQ_LOW;
  HAL_GPIO_Init(GPIOF, &GPIO_InitStruct);

  /*Configure GPIO pin : LED_RED_Pin */
  GPIO_InitStruct.Pin = LED_RED_Pin;
  GPIO_InitStruct.Mode = GPIO_MODE_OUTPUT_PP;
  GPIO_InitStruct.Pull = GPIO_NOPULL;
  GPIO_InitStruct.Speed = GPIO_SPEED_FREQ_LOW;
  HAL_GPIO_Init(LED_RED_GPIO_Port, &GPIO_InitStruct);

}

void Error_Handler(void)
{
}

/************************ (C) COPYRIGHT STMicroelectronics *****END OF FILE****/
